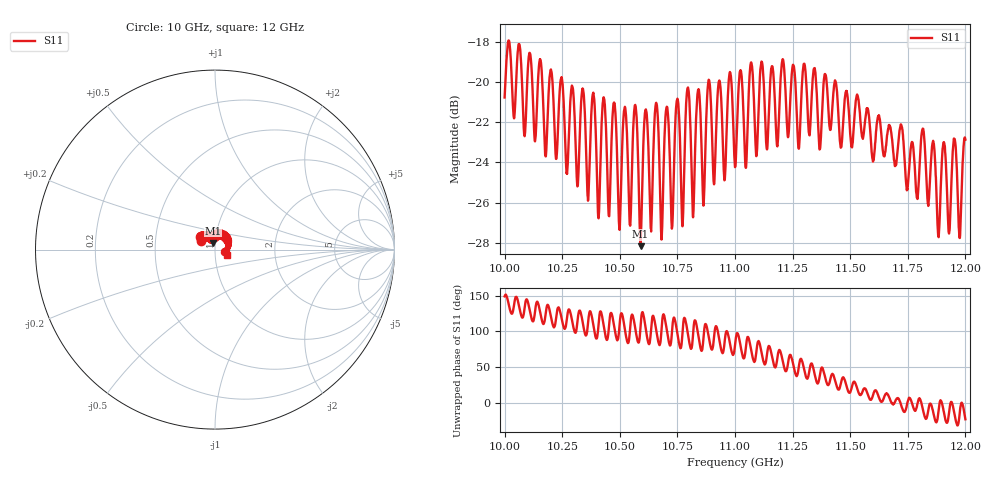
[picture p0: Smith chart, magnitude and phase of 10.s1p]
[Version] 2.0
! Rohde & Schwarz Vector Network Analyzer
! Rohde-Schwarz,ZNL20-2Port,1323001220200009,1.71.1.10-23.02.1.238
! Port Assignments:
! Nominal Port -> Actual Test Port
!  1 -> 1
! Created: GMT 2024-09-04 12:00:27
# Hz S DB R 50
[Number of Ports] 1
! freq[Hz]  S11[mag dB]  S11[ang]
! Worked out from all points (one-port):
!   2001 points, 10 GHz to 12 GHz, reference 50 ohm
!   lowest |S11| = -28.2 dB at 10.59 GHz (marker M1), VSWR 1.08, Z = 48.7 + j3.64 ohm
!   |S11| at or under -10 dB: start of sweep to end of sweep
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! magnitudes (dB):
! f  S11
! 10 GHz  -20.8
! 10.25 GHz  -19.9
! 10.36 GHz  -25.9
! 10.38 GHz  -20.5
! 10.41 GHz  -26.8
! 10.48 GHz  -21.0
! 10.5 GHz  -27.3
! 10.57 GHz  -21.1
! 10.59 GHz  -28.2
! 10.61 GHz  -21.4
! 10.63 GHz  -27.4
! 10.66 GHz  -21.1
! 10.68 GHz  -27.8
! 10.75 GHz  -20.8
! 10.77 GHz  -27.2
! 10.79 GHz  -20.3
! 10.82 GHz  -26.7
! 10.84 GHz  -20.4
! 10.86 GHz  -26.2
! 10.89 GHz  -19.9
! 11 GHz  -24.2
! 11.25 GHz  -19.2
! 11.5 GHz  -22.6
! 11.75 GHz  -25.2
! 11.93 GHz  -27.5
! 11.95 GHz  -22.8
! 11.97 GHz  -27.8
! 12 GHz  -22.9
